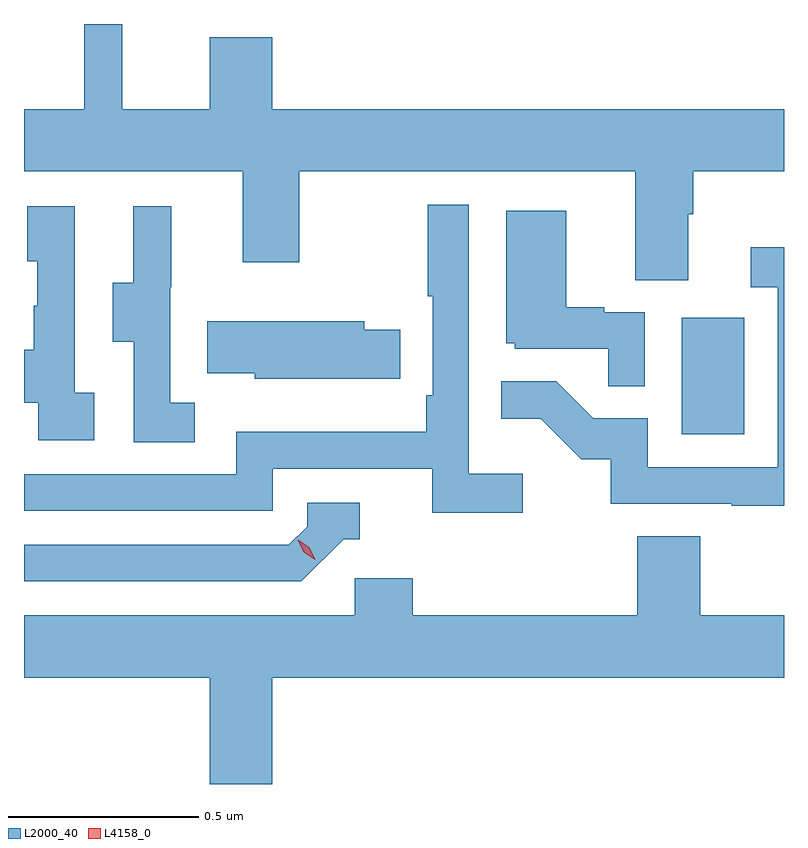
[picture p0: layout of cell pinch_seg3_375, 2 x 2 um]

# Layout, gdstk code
import gdstk
lib = gdstk.Library(unit=1e-6, precision=1e-09)
def R(c, l, rs):  # rectangles x0, y0, x1, y1
    for r in rs: c.add(gdstk.rectangle(r[:2], r[2:], *l))
def P(c, l, *ps):  # polygons
    for p in ps: c.add(gdstk.Polygon(p, *l))
L2000_40 = (2000, 40)
L4158_0 = (4158, 0)

pinch_seg3_375 = lib.new_cell('pinch_seg3_375')
R(pinch_seg3_375, L2000_40, [(993.422,690.9,993.586,691.207)])
P(pinch_seg3_375, L2000_40, [(993.439,691.48),(993.452,691.48),(993.452,691.592),(993.691,691.592),(993.691,691.756),(992.344,691.756),(992.344,691.945),(992.18,691.945),(992.18,691.756),(991.95,691.756),(991.95,691.98),(991.85,691.98),(991.85,691.756),(991.691,691.756),(991.691,691.592),(992.267,691.592),(992.267,691.353),(992.415,691.353),(992.415,691.592),(993.299,691.592),(993.299,691.306),(993.439,691.306)],
  [(993.004,690.796),(992.862,690.796),(992.862,691.504),(992.754,691.504),(992.754,691.264),(992.766,691.264),(992.766,691.003),(992.749,691.003),(992.749,690.907),(992.25,690.907),(992.25,690.795),(991.691,690.795),(991.691,690.699),(992.346,690.699),(992.346,690.81),(992.765,690.81),(992.765,690.694),(993.004,690.694)],
  [(991.876,691.01),(991.824,691.01),(991.824,691.501),(991.7,691.501),(991.7,691.356),(991.726,691.356),(991.726,691.238),(991.716,691.238),(991.716,691.123),(991.691,691.123),(991.691,690.983),(991.728,690.983),(991.728,690.885),(991.876,690.885)],
  [(992.14,690.983),(992.076,690.983),(992.076,691.287),(992.078,691.287),(992.078,691.501),(991.979,691.501),(991.979,691.299),(991.925,691.299),(991.925,691.144),(991.98,691.144),(991.98,690.88),(992.14,690.88)],
  [(993.324,691.221),(993.218,691.221),(993.218,691.234),(993.118,691.234),(993.118,691.489),(992.96,691.489),(992.96,691.14),(992.982,691.14),(992.982,691.125),(993.229,691.125),(993.229,691.027),(993.324,691.027)],
  [(993.691,691.393),(993.603,691.393),(993.603,691.287),(993.675,691.287),(993.675,690.813),(993.333,690.813),(993.333,690.942),(993.189,690.942),(993.091,691.04),(992.947,691.04),(992.947,690.941),(993.051,690.941),(993.158,690.834),(993.235,690.834),(993.235,690.717),(993.553,690.717),(993.553,690.712),(993.691,690.712)],
  [(992.57,691.047),(992.681,691.047),(992.681,691.176),(992.587,691.176),(992.587,691.198),(992.173,691.198),(992.173,691.061),(992.298,691.061),(992.298,691.046),(992.57,691.046)],
  [(992.532,690.624),(992.575,690.624),(992.575,690.72),(992.436,690.72),(992.436,690.657),(992.388,690.609),(991.691,690.609),(991.691,690.513),(992.421,690.513)],
  [(992.344,690.26),(993.691,690.26),(993.691,690.424),(993.47,690.424),(993.47,690.632),(993.305,690.632),(993.305,690.424),(992.714,690.424),(992.714,690.522),(992.562,690.522),(992.562,690.424),(991.691,690.424),(991.691,690.26),(992.18,690.26),(992.18,689.98),(992.344,689.98)])
P(pinch_seg3_375, L4158_0, [(992.458,690.57),(992.427,690.59),(992.412,690.623),(992.412,690.623),(992.412,690.623),(992.442,690.603),(992.458,690.57),(992.458,690.57)])

lib.write_gds('pinch_seg3_375.gds')
